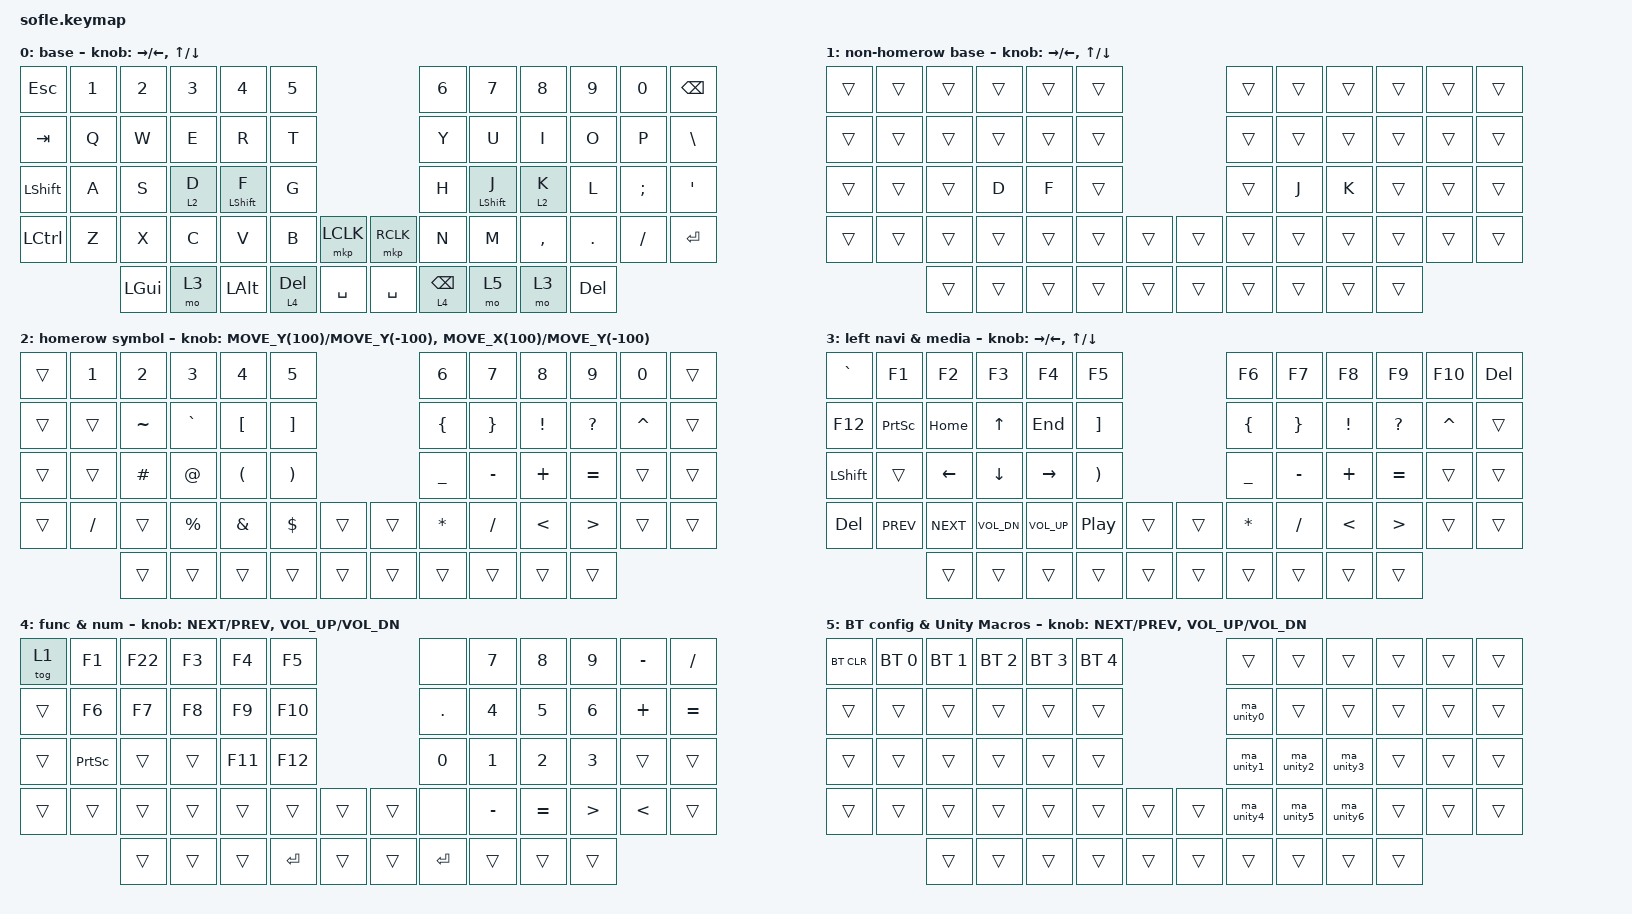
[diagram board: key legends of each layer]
/*
 * Copyright (c) 2020 The ZMK Contributors
 *
 * SPDX-License-Identifier: MIT
 */

#define ZMK_POINTING_DEFAULT_MOVE_VAL 1500
#define ZMK_POINTING_DEFAULT_SCRL_VAL 20

#include <behaviors.dtsi>
#include <dt-bindings/zmk/keys.h>
#include <dt-bindings/zmk/bt.h>
#include <dt-bindings/zmk/outputs.h>
//#include <dt-bindings/zmk/ext_power.h>
//#include <dt-bindings/led/led.h>
//#include <dt-bindings/zmk/backlight.h>
//#include <dt-bindings/zmk/rgb.h>
#include <dt-bindings/zmk/pointing.h>
#include <dt-bindings/zmk/reset.h>

&mmv {
    time-to-max-speed-ms = <0>;
    acceleration-exponent = <0>;
};


/ {
    behaviors {

        enc_mouse: enc_mouse {
          compatible = "zmk,behavior-sensor-rotate-var";
          #sensor-binding-cells = <2>;
          bindings = <&mmv>, <&mmv>;
        };

        mt: mod_tap {
            compatible = "zmk,behavior-hold-tap";
            #binding-cells = <2>;
            flavor = "balanced";
            tapping-term-ms = <200>;
            bindings = <&kp>, <&kp>;
            display-name = "Mod-Tap";  
        };
        lt: layer_tap {
            compatible = "zmk,behavior-hold-tap";
            #binding-cells = <2>;
            flavor = "balanced";
            tapping-term-ms = <200>;
            bindings = <&mo>, <&kp>;
            display-name = "Layer-Tap";
        };
        
        // UNITY MACROS //
        ma_unity0: ma_unity0 {
            compatible = "zmk,behavior-macro";
            #binding-cells = <0>;
            label = "SerializeField";
            bindings = < 
                &kp LEFT_BRACKET &kp LS(S) &kp E &kp R &kp I &kp A &kp L &kp I &kp Z &kp E &kp LS(F) &kp I &kp E &kp L &kp D &kp RIGHT_BRACKET
            >;
        };
        ma_unity1: ma_unity1 {
            compatible = "zmk,behavior-macro";
            #binding-cells = <0>;
            label = "GetComponent";
            bindings = < 
                &kp LS(G) &kp E &kp T &kp LS(C) &kp O &kp M &kp P &kp O &kp N &kp E &kp N &kp T
            >;
        };
        ma_unity2: ma_unity2 {
            compatible = "zmk,behavior-macro";
            #binding-cells = <0>;
            label = "GetComponentInChildren";
            bindings = < 
                &kp LS(G) &kp E &kp T &kp LS(C) &kp O &kp M &kp P &kp O &kp N &kp E &kp N &kp T &kp LS(I) &kp N &kp LS(C) &kp H &kp I &kp L &kp D &kp R &kp E &kp N
            >;
        };
        ma_unity3: ma_unity3 {
            compatible = "zmk,behavior-macro";
            #binding-cells = <0>;
            label = "GetComponentInParent";
            bindings = < 
                &kp LS(G) &kp E &kp T &kp LS(C) &kp O &kp M &kp P &kp O &kp N &kp E &kp N &kp T &kp LS(I) &kp N &kp LS(P) &kp A &kp R &kp E &kp N &kp T
            >;
        };
        ma_unity4: ma_unity4 {
            compatible = "zmk,behavior-macro";
            #binding-cells = <0>;
            label = "Debug.Log";
            bindings = < 
                &kp LS(D) &kp E &kp B &kp U &kp G &kp DOT
                &kp LS(L) &kp O &kp G
                &kp LPAR &kp DOLLAR &kp DOUBLE_QUOTES &kp DOUBLE_QUOTES &kp RPAR &kp SEMI
                &kp LEFT &kp LEFT &kp LEFT
            >;
        };
                ma_unity5: ma_unity5 {
            compatible = "zmk,behavior-macro";
            #binding-cells = <0>;
            label = "Debug.LogWarning";
            bindings = < 
                &kp LS(D) &kp E &kp B &kp U &kp G &kp DOT
                &kp LS(L) &kp O &kp G &kp LS(W) &kp A &kp R &kp N &kp I &kp N &kp G
                &kp LPAR &kp DOLLAR &kp DOUBLE_QUOTES &kp DOUBLE_QUOTES &kp RPAR &kp SEMI
                &kp LEFT &kp LEFT &kp LEFT
            >;
        };
                ma_unity6: ma_unity6 {
            compatible = "zmk,behavior-macro";
            #binding-cells = <0>;
            label = "Debug.LogError";
            bindings = < 
                &kp LS(D) &kp E &kp B &kp U &kp G &kp DOT
                &kp LS(L) &kp O &kp G &kp LS(E) &kp R &kp R &kp O &kp R
                &kp LPAR &kp DOLLAR &kp DOUBLE_QUOTES &kp DOUBLE_QUOTES &kp RPAR &kp SEMI
                &kp LEFT &kp LEFT &kp LEFT
            >;
        };
    };
};

/ {
    keymap {
      compatible = "zmk,keymap";

      layer_0 { // base
        display-name = "base";
        bindings = <
          &kp ESC   &kp N1 &kp N2    &kp N3   &kp N4        &kp N5                               &kp N6      &kp N7        &kp N8       &kp N9     &kp N0   &kp BSPC
          &kp TAB   &kp Q  &kp W     &kp E    &kp R         &kp T                                &kp Y       &kp U         &kp I        &kp O      &kp P    &kp BSLH
          &kp LSHFT &kp A  &kp S     &lt 2 D  &mt LSHIFT F  &kp G                                &kp H       &mt LSHIFT J  &lt 2 K      &kp L      &kp SEMI &kp SQT
          &kp LCTRL &kp Z  &kp X     &kp C    &kp V         &kp B       &mkp LCLK   &mkp RCLK    &kp N       &kp M         &kp COMMA    &kp DOT    &kp FSLH &kp ENTER
                           &kp LGUI  &mo 3    &kp LALT      &lt 4 DEL   &kp SPACE   &kp SPACE    &lt 4 BSPC  &mo 5         &mo 3        &kp DEL
        >;

        sensor-bindings = <&inc_dec_kp RIGHT LEFT  &inc_dec_kp UP DOWN>;
      };

      layer_1 {
        display-name = "non-homerow base";
        bindings = <
          &trans  &trans  &trans  &trans  &trans  &trans                    &trans  &trans  &trans  &trans  &trans  &trans
          &trans  &trans  &trans  &trans  &trans  &trans                    &trans  &trans  &trans  &trans  &trans  &trans
          &trans  &trans  &trans  &kp D   &kp F   &trans                    &trans  &kp J   &kp K   &trans  &trans  &trans
          &trans  &trans  &trans  &trans  &trans  &trans   &trans  &trans   &trans  &trans  &trans  &trans  &trans  &trans
                          &trans  &trans  &trans  &trans   &trans  &trans   &trans  &trans  &trans  &trans
        >;

        sensor-bindings = <&inc_dec_kp RIGHT LEFT  &inc_dec_kp UP DOWN>;
      };

      layer_2 {
        display-name = "homerow symbol";
        bindings = <
          &trans   &kp N1    &kp N2    &kp N3       &kp N4         &kp N5                        &kp N6          &kp N7     &kp N8           &kp N9        &kp N0    &trans
          &trans   &trans    &kp TILDE &kp GRAVE    &kp LBKT       &kp RBKT                      &kp LBRC        &kp RBRC   &kp EXCLAMATION  &kp QUESTION  &kp CARET &trans
          &trans   &trans    &kp HASH  &kp AT       &kp LPAR       &kp RPAR                      &kp UNDERSCORE  &kp MINUS  &kp PLUS         &kp EQUAL     &trans    &trans
          &trans   &kp FSLH  &trans    &kp PERCENT  &kp AMPERSAND  &kp DOLLAR  &trans   &trans   &kp ASTERISK    &kp SLASH  &kp LT           &kp GT        &trans    &trans
                             &trans    &trans       &trans         &trans      &trans   &trans   &trans          &trans     &trans           &trans
        >;

        sensor-bindings = <&enc_mouse MOVE_Y(100) MOVE_Y(-100) &enc_mouse MOVE_X(100) MOVE_Y(-100)>;   
      };
      
      layer_3 {
        display-name = "left navi & media";
        bindings = <
          &kp GRAVE   &kp F1     &kp F2     &kp F3       &kp F4        &kp F5                       &kp F6         &kp F7     &kp F8           &kp F9        &kp F10     &kp DEL
          &kp F12     &kp PSCRN  &kp HOME   &kp UP       &kp END       &kp RBKT                     &kp LBRC       &kp RBRC   &kp EXCLAMATION  &kp QUESTION  &kp CARET   &trans
          &kp LSHFT   &trans     &kp LEFT   &kp DOWN     &kp RIGHT     &kp RPAR                     &kp UNDERSCORE &kp MINUS  &kp PLUS         &kp EQUAL     &trans      &trans
          &kp DEL     &kp C_PREV &kp C_NEXT &kp C_VOL_DN &kp C_VOL_UP  &kp C_PP    &trans   &trans  &kp ASTERISK   &kp SLASH  &kp LT           &kp GT        &trans      &trans
                                 &trans     &trans       &trans        &trans      &trans   &trans  &trans         &trans     &trans           &trans
        >;

        sensor-bindings = <&inc_dec_kp RIGHT LEFT  &inc_dec_kp UP DOWN>;
      };


      layer_4 { // functions and numbers
        display-name = "func & num";
        bindings = <
          &tog 1   &kp F1    &kp F22    &kp F3       &kp F4    &kp F5                            &none      &kp N7      &kp N8     &kp N9  &kp MINUS &kp FSLH
          &trans   &kp F6    &kp F7     &kp F8       &kp F9    &kp F10                           &kp DOT    &kp N4      &kp N5     &kp N6  &kp PLUS  &kp EQUAL
          &trans   &kp PSCRN &trans     &trans       &kp F11   &kp F12                           &kp N0     &kp N1      &kp N2     &kp N3  &trans    &trans
          &trans   &trans    &trans     &trans       &trans    &trans    &trans     &trans       &none      &kp MINUS   &kp EQUAL  &kp GT  &kp LT    &trans
                             &trans     &trans       &trans    &kp ENTER &trans     &trans       &kp ENTER  &trans      &trans     &trans     
        >;

        sensor-bindings = <&inc_dec_kp C_NEXT C_PREV  &inc_dec_kp C_VOL_UP C_VOL_DN>;
      };

      layer_5{ // unity macros
        display-name = "BT config & Unity Macros";
        bindings = <
          &bt BT_CLR    &bt BT_SEL 0 &bt BT_SEL 1 &bt BT_SEL 2 &bt BT_SEL 3  &bt BT_SEL 4                     &trans     &trans     &trans     &trans &trans &trans
          &trans        &trans       &trans       &trans       &trans        &trans                           &ma_unity0 &trans     &trans     &trans &trans &trans
          &trans        &trans       &trans       &trans       &trans        &trans                           &ma_unity1 &ma_unity2 &ma_unity3 &trans &trans &trans
          &trans        &trans       &trans       &trans       &trans        &trans         &trans   &trans   &ma_unity4 &ma_unity5 &ma_unity6 &trans &trans &trans
                                     &trans       &trans       &trans        &trans         &trans   &trans   &trans     &trans     &trans     &trans 
        >;

        sensor-bindings = <&inc_dec_kp C_NEXT C_PREV  &inc_dec_kp C_VOL_UP C_VOL_DN>;
    };


        extra_1 {
            status = "reserved";
        };

        extra_2 {
            status = "reserved";
        };

        extra_3 {
            status = "reserved";
        };
    };
};
